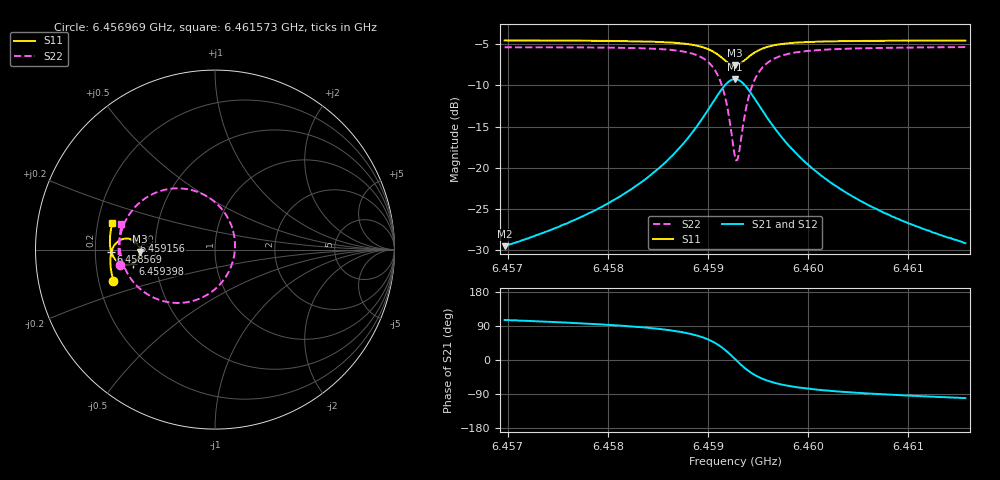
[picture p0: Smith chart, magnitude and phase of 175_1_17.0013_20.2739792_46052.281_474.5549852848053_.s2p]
#  HZ  S  RI  R  50.00
! Rohde & Schwarz Vector Network Analyzer
! Rohde-Schwarz,ZNB20-2Port,1311601062101988,3.16
! Created: UTC 3/20/2024, 10:59:54 PM
! freq[Hz]  re:S11  im:S11  re:S21  im:S21  re:S12  im:S12  re:S22  im:S22
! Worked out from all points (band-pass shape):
!   401 points, 6.456969 GHz to 6.461573 GHz, reference 50 ohm
!   highest |S21| = -9.24 dB at 6.459271 GHz (marker M1); lowest = -29.5 dB at 6.456969 GHz (marker M2)
!   |S21| within 3 dB of the highest: 6.459041 GHz to 6.459501 GHz (460.4 kHz wide, 0.00713 % of centre)
!   lowest |S11| = -7.6 dB at 6.459271 GHz (marker M3), VSWR 2.44, Z = 20.5 - j0.593 ohm
!   |S11| at or under -10 dB: nowhere
!   |S22| runs from -19.1 to -5.4 dB; largest |S21 - S12| = 0.013
!   S11 on the Smith chart (normalised r, x): 6.456969 GHz: 0.26, -0.14; 6.458569 GHz: 0.27, -0.01; 6.459156 GHz: 0.37, +0.05; 6.459398 GHz: 0.37, -0.07; 6.461573 GHz: 0.26, +0.12
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6.4569691e9  -0.5659 -0.1741  -0.00908 0.0323  -0.00721 0.0323  -0.5313 -0.0875
6.4577403e9  -0.5803 -0.1067  -0.00581 0.0504  -0.00328 0.0497  -0.5371 0.00265
6.4581662e9  -0.5833 -0.064  -4.14e-05 0.0699  0.00326 0.0686  -0.5294 0.07
6.4585115e9  -0.5797 -0.0228  0.0138 0.0988  0.0178 0.096  -0.5044 0.1481
6.458569e9  -0.5779 -0.0148  0.0181 0.1056  0.0222 0.1026  -0.4963 0.1644
6.4587762e9  -0.5649 0.0173  0.0454 0.1383  0.0496 0.1333  -0.4451 0.2374
6.4589258e9  -0.5423 0.0438  0.0908 0.1688  0.094 0.1622  -0.362 0.3022
6.459064e9  -0.4983 0.0615  0.1779 0.1856  0.179 0.1784  -0.2029 0.3413
6.459156e9  -0.4536 0.0512  0.2679 0.1547  0.2683 0.1488  -0.0364 0.2913
6.4592251e9  -0.4245 0.0191  0.3285 0.0828  0.3309 0.0776  0.0792 0.1623
6.4592711e9  -0.4177 -0.0119  0.345 0.0149  0.3488 0.00792  0.1113 0.0355
6.4593057e9  -0.4215 -0.0356  0.3393 -0.0376  0.3432 -0.0466  0.1001 -0.0638
6.4593517e9  -0.4371 -0.0617  0.3108 -0.0973  0.313 -0.1092  0.0426 -0.1765
6.4593977e9  -0.4592 -0.078  0.2688 -0.1385  0.268 -0.1515  -0.0421 -0.2512
6.4594438e9  -0.4822 -0.0849  0.2245 -0.1609  0.2208 -0.1737  -0.1309 -0.2882
6.4595013e9  -0.5073 -0.0841  0.1753 -0.1702  0.1688 -0.1813  -0.2279 -0.2966
6.459651e9  -0.5487 -0.0626  0.0922 -0.154  0.0838 -0.16  -0.3855 -0.2433
6.4598121e9  -0.5692 -0.035  0.0496 -0.1264  0.0422 -0.129  -0.4612 -0.1723
6.4600423e9  -0.5808 -0.0014  0.0226 -0.097  0.0168 -0.0976  -0.5056 -0.0951
6.4603991e9  -0.5857 0.0408  0.00625 -0.0695  0.00217 -0.0691  -0.5278 -0.014
6.4608135e9  -0.5838 0.0825  -0.00131 -0.0518  -0.00409 -0.051  -0.5319 0.052
6.4615732e9  -0.5717 0.1497  -0.00646 -0.0344  -0.00812 -0.0336  -0.521 0.1415
